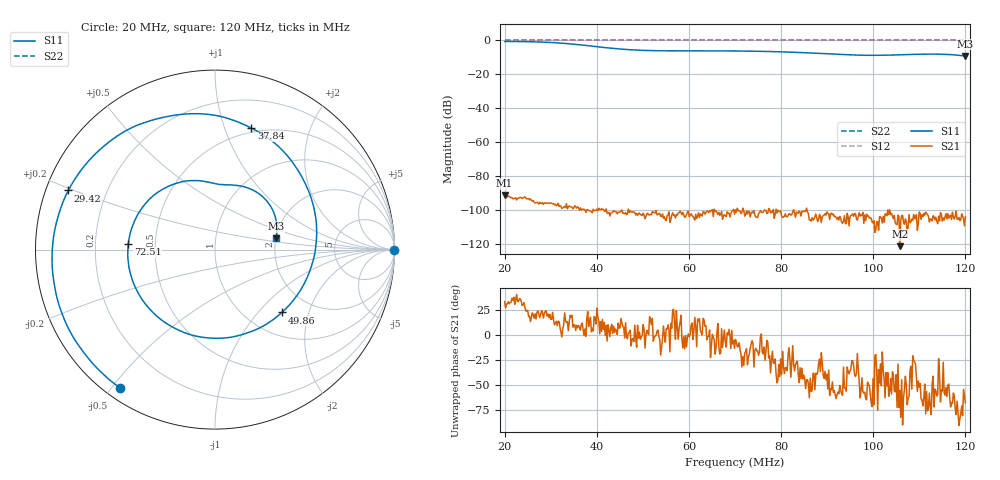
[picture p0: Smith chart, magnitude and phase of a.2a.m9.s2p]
! Anritsu VNA Master:  Model: MS2036C/10/77
! SN:  1601066
! /bd0/18may09/252.ew.m9.s2p
! Existing Calibration Information:
! TYPE:  Current Settings,  Active Cal Settings
! TIME:  05/09/2018 08:25:46 AM,  05/09/2018 08:17:55 AM
! INTERNAL TEMP:  40.8 C,  41.3 C
! # POINTS:  500,  500
! START FREQ:  20.000 MHz,  20.000 MHz
! STOP FREQ:  120.000 MHz,  120.000 MHz
! SOURCE POWER:  High,  High
! IFBW:  50 Hz,  50 Hz
! AVG FACTOR:  1 ,  1
! REF PLANE 1:  0 mm,  0 mm
! REF PLANE 2:  0 mm,  0 mm
! CAL TYPE:  Full S11,  Full S11
! CAL METHOD:  SOLT,  SOLT
! CAL LINE TYPE:  Coax,  Coax
! DUT PORT 1:  K-Conn(F),  K-Conn(F)
! DUT PORT 2:  K-Conn(F),  K-Conn(F)
! CAL STATUS:  OK: Accuracy High,  --
# GHZ S DB R 50.0
! FREQ.GHZ  S11DB  S11A  S21DB  S21A  S12DB  S12A  S22DB  S22A
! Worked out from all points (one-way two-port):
!   500 points, 20 MHz to 120 MHz, reference 50 ohm
!   highest |S21| = -91.33 dB at 20 MHz (marker M1); lowest = -121.4 dB at 105.8 MHz (marker M2)
!   lowest |S11| = -9.2 dB at 120 MHz (marker M3), VSWR 2.06, Z = 100 + j14.5 ohm
!   |S11| at or under -10 dB: nowhere
!   |S22| runs from 0.0 to 0.0 dB; largest |S21 - S12| = 1
!   S11 on the Smith chart (normalised r, x): 20 MHz: 0.04, -0.53; 29.42 MHz: 0.07, +0.19; 37.84 MHz: 0.46, +1.24; 49.86 MHz: 1.43, -1.36; 72.51 MHz: 0.35, +0.03; 120 MHz: 2.00, +0.29
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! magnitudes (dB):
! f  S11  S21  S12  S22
! 20 MHz  -0.6  -91.3  0.0  0.0
! 24.81 MHz  -0.7  -93.5  0.0  0.0
! 29.42 MHz  -1.1  -96.0  0.0  0.0
! 32.83 MHz  -1.7  -98.3  0.0  0.0
! 36.83 MHz  -2.7  -99.5  0.0  0.0
! 37.84 MHz  -3.0  -99.9  0.0  0.0
! 44.65 MHz  -5.0  -101.4  0.0  0.0
! 46.85 MHz  -5.4  -99.5  0.0  0.0
! 49.86 MHz  -5.8  -103.3  0.0  0.0
! 53.47 MHz  -6.1  -102.3  0.0  0.0
! 70.1 MHz  -6.2  -100.0  0.0  0.0
! 72.51 MHz  -6.3  -100.6  0.0  0.0
! 80.12 MHz  -6.7  -103.5  0.0  0.0
! 86.73 MHz  -7.4  -104.5  0.0  0.0
! 97.35 MHz  -8.7  -102.9  0.0  0.0
! 99.76 MHz  -8.8  -107.3  0.0  0.0
! 103.4 MHz  -8.6  -102.9  0.0  0.0
! 105.8 MHz  -8.5  -121.4  0.0  0.0
! 110.4 MHz  -8.1  -105.6  0.0  0.0
! 114.2 MHz  -8.1  -103.7  0.0  0.0
! 117 MHz  -8.4  -105.6  0.0  0.0
! 120 MHz  -9.2  -104.1  0.0  0.0
